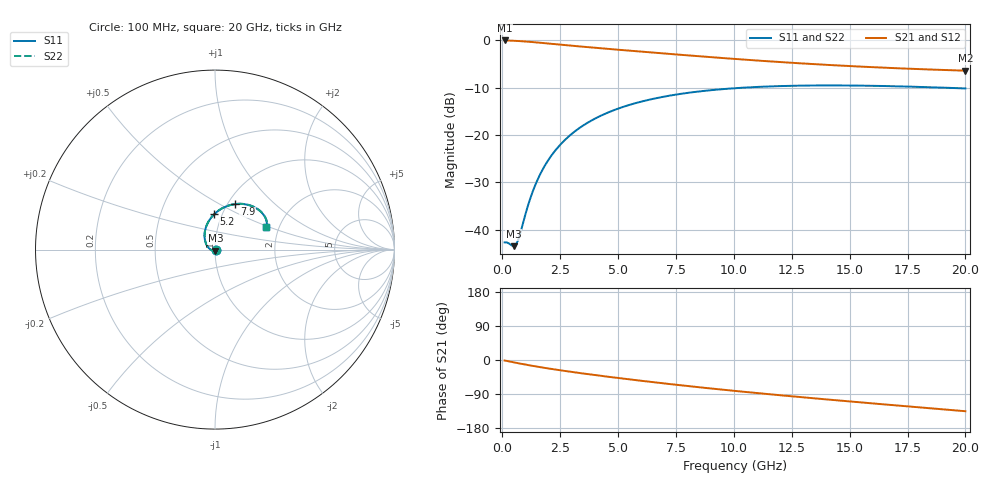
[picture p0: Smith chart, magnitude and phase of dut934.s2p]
! Touchstone file exported from HFSS 2024.1.0
!  File:  C:/UserFiles/LocalFiles/RDL_TSV_Batchsim/temp_RDL_TSV_934_1779961338.aedt
!  Generated:  05:55:26 PM May 28, 2026
!  Design:  RDL_TSV
!  Project:  temp_RDL_TSV_934_1779961338
!  Setup:  Setup1
!  Solution:  Sweep
! Variables:
!  dtsv = 11.14um
!  hbump = 3um
!  htsv = 57.46um
!  ldown = 113.47um
!  lrdl = 397.65um
!  p = 40
!  p1 = 50.42um
!  rhole = 10um
!  subl = 1931.01um
!  t = 450um
!  tdown = 4.64um
!  trdl = 4.46um
!  viad = 10um
!  wdown = 21.89um
!  wrdl = 23.59um
!  xbump = 18um
# GHz S MA R 50.000000
! Terminal data exported
! Port[1] = TM1_1_T1
! Port[2] = TM1_4_T1
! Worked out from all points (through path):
!   200 points, 100 MHz to 20 GHz, reference 50 ohm
!   highest |S21| = -0.07 dB at 100 MHz (marker M1); lowest = -6.4 dB at 20 GHz (marker M2)
!   group delay of S21, straight-line fit = 17.8 ps
!   lowest |S11| = -43.5 dB at 500 MHz (marker M3), VSWR 1.01, Z = 50.2 - j0.629 ohm
!   |S11| at or under -10 dB: start of sweep to 10.52 GHz; 18.86 GHz to end of sweep
!   |S22| runs from -43.5 to -9.5 dB; largest |S21 - S12| = 2.7e-14
!   S11 on the Smith chart (normalised r, x): 100 MHz: 1.01, -0.00; 5.2 GHz: 0.92, +0.38; 7.9 GHz: 1.08, +0.59; 20 GHz: 1.71, +0.47
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0.1  0.007348 -8.4  0.9922 -1.3  0.9922 -1.3  0.007347 -8.4
! Gamma 0 0 0 0
! Port Impedance 50 0 50 0
0.2  0.007325 -19.1  0.991 -2.6  0.991 -2.6  0.007324 -19.1
0.5  0.0067 -69.0  0.9847 -6.2  0.9847 -6.2  0.006694 -69.1
0.6  0.007 -91.1  0.9819 -7.4  0.9819 -7.4  0.006996 -91.3
0.7  0.007959 -112.6  0.9788 -8.6  0.9788 -8.6  0.007961 -112.7
1.1  0.01767 -166.1  0.9635 -13.2  0.9635 -13.2  0.0177 -166.2
1.3  0.02473 179.8  0.9545 -15.4  0.9545 -15.4  0.02478 179.7
1.5  0.03267 169.1  0.9451 -17.5  0.9451 -17.5  0.03274 169.1
1.8  0.04568 156.6  0.9305 -20.5  0.9305 -20.5  0.04578 156.6
2.1  0.05954 146.6  0.9157 -23.4  0.9157 -23.4  0.05967 146.6
2.5  0.07863 135.7  0.8963 -27.1  0.8963 -27.1  0.07881 135.7
3  0.1026 124.5  0.8733 -31.5  0.8733 -31.5  0.1029 124.5
3.5  0.126 115.1  0.8515 -35.7  0.8515 -35.7  0.1263 115.1
4.3  0.1613 102.7  0.819 -42.1  0.819 -42.1  0.1617 102.7
5.2  0.1968 91.3  0.785 -49.0  0.785 -49.0  0.1973 91.4
6.8  0.2484 75.4  0.7292 -60.5  0.7292 -60.5  0.249 75.5
7.9  0.2754 66.6  0.694 -68.0  0.694 -68.0  0.2762 66.7
10.1  0.3116 52.6  0.6316 -81.9  0.6316 -81.9  0.3125 52.7
11.7  0.3258 44.7  0.5934 -91.3  0.5934 -91.3  0.3267 44.7
13.4  0.3322 37.8  0.5593 -100.8  0.5593 -100.8  0.3332 37.9
16.7  0.3272 28.4  0.5093 -118.2  0.5093 -118.2  0.3281 28.5
20  0.3093 23.5  0.4761 -135.2  0.4761 -135.2  0.3102 23.6
